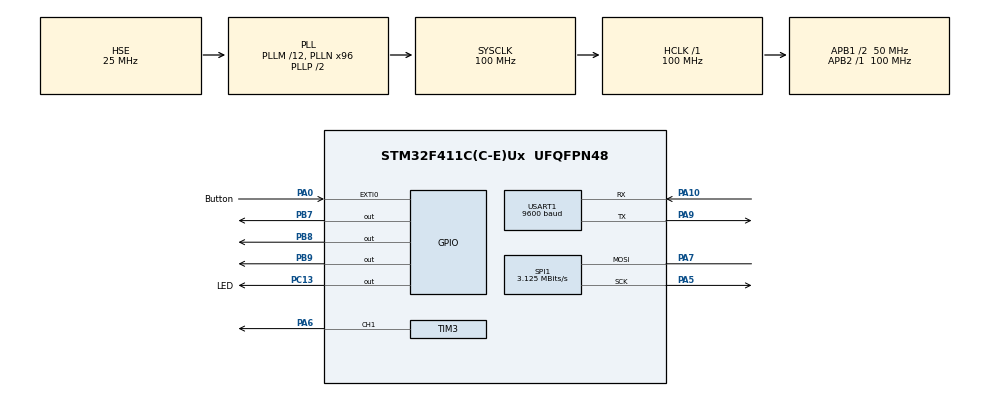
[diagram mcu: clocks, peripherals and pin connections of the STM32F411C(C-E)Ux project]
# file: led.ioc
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Dma.Request0=USART1_RX
Dma.Request1=USART1_TX
Dma.USART1_RX.0.Direction=DMA_PERIPH_TO_MEMORY
Dma.USART1_RX.0.FIFOMode=DMA_FIFOMODE_DISABLE
Dma.USART1_RX.0.Instance=DMA2_Stream2
Dma.USART1_RX.0.MemDataAlignment=DMA_MDATAALIGN_BYTE
Dma.USART1_RX.0.MemInc=DMA_MINC_ENABLE
Dma.USART1_RX.0.Mode=DMA_NORMAL
Dma.USART1_RX.0.PeriphDataAlignment=DMA_PDATAALIGN_BYTE
Dma.USART1_RX.0.PeriphInc=DMA_PINC_DISABLE
Dma.USART1_RX.0.Priority=DMA_PRIORITY_LOW
Dma.USART1_TX.1.Direction=DMA_MEMORY_TO_PERIPH
Dma.USART1_TX.1.FIFOMode=DMA_FIFOMODE_DISABLE
Dma.USART1_TX.1.Instance=DMA2_Stream7
Dma.USART1_TX.1.MemDataAlignment=DMA_MDATAALIGN_BYTE
Dma.USART1_TX.1.MemInc=DMA_MINC_ENABLE
Dma.USART1_TX.1.Mode=DMA_NORMAL
Dma.USART1_TX.1.PeriphDataAlignment=DMA_PDATAALIGN_BYTE
Dma.USART1_TX.1.PeriphInc=DMA_PINC_DISABLE
Dma.USART1_TX.1.Priority=DMA_PRIORITY_LOW
Mcu.Family=STM32F4
Mcu.Name=STM32F411C(C-E)Ux
Mcu.Package=UFQFPN48
NVIC.DMA2_Stream2_IRQn=true\:0\:0\:false\:false\:true\:false\:true\:true
NVIC.DMA2_Stream7_IRQn=true\:0\:0\:false\:false\:true\:false\:true\:true
NVIC.EXTI0_IRQn=true\:0\:0\:false\:false\:true\:true\:true\:true
NVIC.PriorityGroup=NVIC_PRIORITYGROUP_4
NVIC.USART1_IRQn=true\:0\:0\:true\:false\:true\:true\:true\:true
PA0-WKUP.GPIO_Label=Button
PA0-WKUP.GPIO_ModeDefaultEXTI=GPIO_MODE_IT_FALLING
PA0-WKUP.GPIO_PuPd=GPIO_PULLUP
PA0-WKUP.Signal=GPXTI0
PA10.Mode=Asynchronous
PA10.Signal=USART1_RX
PA13.Mode=Serial_Wire
PA13.Signal=SYS_JTMS-SWDIO
PA14.Mode=Serial_Wire
PA14.Signal=SYS_JTCK-SWCLK
PA5.Mode=Simplex_Bidirectional_Master
PA5.Signal=SPI1_SCK
PA6.Signal=S_TIM3_CH1
PA7.Mode=Simplex_Bidirectional_Master
PA7.Signal=SPI1_MOSI
PA9.Mode=Asynchronous
PA9.Signal=USART1_TX
PB7.Signal=GPIO_Output
PB8.Signal=GPIO_Output
PB9.Signal=GPIO_Output
PC13-ANTI_TAMP.GPIO_Label=LED
PC13-ANTI_TAMP.PinState=GPIO_PIN_SET
PC13-ANTI_TAMP.Signal=GPIO_Output
PH0\ -\ OSC_IN.Mode=HSE-External-Oscillator
PH0\ -\ OSC_IN.Signal=RCC_OSC_IN
PH1\ -\ OSC_OUT.Mode=HSE-External-Oscillator
PH1\ -\ OSC_OUT.Signal=RCC_OSC_OUT
ProjectManager.HeapSize=0x200
ProjectManager.StackSize=0x400
ProjectManager.TargetToolchain=STM32CubeIDE
RCC.48MHZClocksFreq_Value=50000000
RCC.AHBFreq_Value=100000000
RCC.APB1CLKDivider=RCC_HCLK_DIV2
RCC.APB1Freq_Value=50000000
RCC.APB1TimFreq_Value=100000000
RCC.APB2Freq_Value=100000000
RCC.APB2TimFreq_Value=100000000
RCC.CortexFreq_Value=100000000
RCC.HCLKFreq_Value=100000000
RCC.HSE_VALUE=25000000
RCC.HSI_VALUE=16000000
RCC.LSE_VALUE=32768
RCC.PLLM=12
RCC.PLLN=96
RCC.PLLSourceVirtual=RCC_PLLSOURCE_HSE
RCC.SYSCLKFreq_VALUE=100000000
RCC.SYSCLKSource=RCC_SYSCLKSOURCE_PLLCLK
RCC.VCOOutputFreq_Value=200000000
SH.S_TIM3_CH1.0=TIM3_CH1,PWM Generation1 CH1
SPI1.BaudRatePrescaler=SPI_BAUDRATEPRESCALER_32
SPI1.CalculateBaudRate=3.125 MBits/s
SPI1.Direction=SPI_DIRECTION_1LINE
SPI1.Mode=SPI_MODE_MASTER
SPI1.VirtualType=VM_MASTER
TIM3.AutoReloadPreload=TIM_AUTORELOAD_PRELOAD_ENABLE
TIM3.Channel-PWM\ Generation1\ CH1=TIM_CHANNEL_1
TIM3.Period=999
TIM3.Prescaler=99
TIM3.Pulse-PWM\ Generation1\ CH1=0
USART1.BaudRate=9600
USART1.VirtualMode=VM_ASYNC
VP_TIM3_VS_ClockSourceINT.Mode=Internal
board=custom

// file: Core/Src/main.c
/* USER CODE BEGIN Header */
/**
  ******************************************************************************
  * @file           : main.c
  * @brief          : Main program body
  ******************************************************************************
  * @attention
  *
  * Copyright (c) 2025 STMicroelectronics.
  * All rights reserved.
  *
  * This software is licensed under terms that can be found in the LICENSE file
  * in the root directory of this software component.
  * If no LICENSE file comes with this software, it is provided AS-IS.
  *
  ******************************************************************************
  */
/* USER CODE END Header */
#include "main.h"

/* USER CODE BEGIN Includes */
#include "led.h"
#include "string.h"
#include "ST7735.h"
#include "GFX_FUNCTIONS.h"
#include <stdio.h>
/* USER CODE END Includes */

SPI_HandleTypeDef hspi1;

TIM_HandleTypeDef htim3;

UART_HandleTypeDef huart1;
DMA_HandleTypeDef hdma_usart1_rx;
DMA_HandleTypeDef hdma_usart1_tx;

void SystemClock_Config(void);
static void MX_GPIO_Init(void);
static void MX_DMA_Init(void);
static void MX_TIM3_Init(void);
static void MX_USART1_UART_Init(void);
static void MX_SPI1_Init(void);

/* USER CODE BEGIN 0 */
uint8_t a;
uint8_t flag=0;
uint8_t rx_buffer[1];
char data[10];
int count=0;
/* USER CODE END 0 */

int main(void)
{

  /* MCU Configuration--------------------------------------------------------*/

  /* Reset of all peripherals, Initializes the Flash interface and the Systick. */
  HAL_Init();

  /* Configure the system clock */
  SystemClock_Config();

  /* Initialize all configured peripherals */
  MX_GPIO_Init();
  MX_DMA_Init();
  MX_TIM3_Init();
  MX_USART1_UART_Init();
  MX_SPI1_Init();
  /* USER CODE BEGIN 2 */
  HAL_TIM_PWM_Start(&htim3, TIM_CHANNEL_1);
  HAL_UART_Receive_DMA(&huart1, rx_buffer, sizeof(rx_buffer));
  ST7735_Init(1);
  fillScreen(BLACK);
  /* USER CODE END 2 */

  /* Infinite loop */
  while (1)
  {

    /* USER CODE BEGIN 3 */
	  ST7735_SetRotation(0);
	  ST7735_WriteString(0,0, "Hello", Font_11x18, WHITE, BLACK);
	  HAL_Delay(500);

	  ST7735_SetRotation(0);
	  ST7735_WriteString(50,20, "World", Font_11x18, GREEN, BLACK);
	  HAL_Delay(300);

	  snprintf(data, sizeof(data),"%d",count);
	  ST7735_SetRotation(0);
	  ST7735_WriteString(70,60, data, Font_16x26, MAGENTA, BLACK);
	  HAL_Delay(200);
	  count++;

  }
  /* USER CODE END 3 */
}

void SystemClock_Config(void)
{
  RCC_OscInitTypeDef RCC_OscInitStruct = {0};
  RCC_ClkInitTypeDef RCC_ClkInitStruct = {0};

  /** Configure the main internal regulator output voltage
  */
  __HAL_RCC_PWR_CLK_ENABLE();
  __HAL_PWR_VOLTAGESCALING_CONFIG(PWR_REGULATOR_VOLTAGE_SCALE1);

  /** Initializes the RCC Oscillators according to the specified parameters
  * in the RCC_OscInitTypeDef structure.
  */
  RCC_OscInitStruct.OscillatorType = RCC_OSCILLATORTYPE_HSE;
  RCC_OscInitStruct.HSEState = RCC_HSE_ON;
  RCC_OscInitStruct.PLL.PLLState = RCC_PLL_ON;
  RCC_OscInitStruct.PLL.PLLSource = RCC_PLLSOURCE_HSE;
  RCC_OscInitStruct.PLL.PLLM = 12;
  RCC_OscInitStruct.PLL.PLLN = 96;
  RCC_OscInitStruct.PLL.PLLP = RCC_PLLP_DIV2;
  RCC_OscInitStruct.PLL.PLLQ = 4;
  if (HAL_RCC_OscConfig(&RCC_OscInitStruct) != HAL_OK)
  {
    Error_Handler();
  }

  /** Initializes the CPU, AHB and APB buses clocks
  */
  RCC_ClkInitStruct.ClockType = RCC_CLOCKTYPE_HCLK|RCC_CLOCKTYPE_SYSCLK
                              |RCC_CLOCKTYPE_PCLK1|RCC_CLOCKTYPE_PCLK2;
  RCC_ClkInitStruct.SYSCLKSource = RCC_SYSCLKSOURCE_PLLCLK;
  RCC_ClkInitStruct.AHBCLKDivider = RCC_SYSCLK_DIV1;
  RCC_ClkInitStruct.APB1CLKDivider = RCC_HCLK_DIV2;
  RCC_ClkInitStruct.APB2CLKDivider = RCC_HCLK_DIV1;

  if (HAL_RCC_ClockConfig(&RCC_ClkInitStruct, FLASH_LATENCY_3) != HAL_OK)
  {
    Error_Handler();
  }
}

static void MX_SPI1_Init(void)
{

  /* SPI1 parameter configuration*/
  hspi1.Instance = SPI1;
  hspi1.Init.Mode = SPI_MODE_MASTER;
  hspi1.Init.Direction = SPI_DIRECTION_1LINE;
  hspi1.Init.DataSize = SPI_DATASIZE_8BIT;
  hspi1.Init.CLKPolarity = SPI_POLARITY_LOW;
  hspi1.Init.CLKPhase = SPI_PHASE_1EDGE;
  hspi1.Init.NSS = SPI_NSS_SOFT;
  hspi1.Init.BaudRatePrescaler = SPI_BAUDRATEPRESCALER_32;
  hspi1.Init.FirstBit = SPI_FIRSTBIT_MSB;
  hspi1.Init.TIMode = SPI_TIMODE_DISABLE;
  hspi1.Init.CRCCalculation = SPI_CRCCALCULATION_DISABLE;
  hspi1.Init.CRCPolynomial = 10;
  if (HAL_SPI_Init(&hspi1) != HAL_OK)
  {
    Error_Handler();
  }

}

static void MX_TIM3_Init(void)
{

  TIM_ClockConfigTypeDef sClockSourceConfig = {0};
  TIM_MasterConfigTypeDef sMasterConfig = {0};
  TIM_OC_InitTypeDef sConfigOC = {0};

  htim3.Instance = TIM3;
  htim3.Init.Prescaler = 99;
  htim3.Init.CounterMode = TIM_COUNTERMODE_UP;
  htim3.Init.Period = 999;
  htim3.Init.ClockDivision = TIM_CLOCKDIVISION_DIV1;
  htim3.Init.AutoReloadPreload = TIM_AUTORELOAD_PRELOAD_ENABLE;
  if (HAL_TIM_Base_Init(&htim3) != HAL_OK)
  {
    Error_Handler();
  }
  sClockSourceConfig.ClockSource = TIM_CLOCKSOURCE_INTERNAL;
  if (HAL_TIM_ConfigClockSource(&htim3, &sClockSourceConfig) != HAL_OK)
  {
    Error_Handler();
  }
  if (HAL_TIM_PWM_Init(&htim3) != HAL_OK)
  {
    Error_Handler();
  }
  sMasterConfig.MasterOutputTrigger = TIM_TRGO_RESET;
  sMasterConfig.MasterSlaveMode = TIM_MASTERSLAVEMODE_DISABLE;
  if (HAL_TIMEx_MasterConfigSynchronization(&htim3, &sMasterConfig) != HAL_OK)
  {
    Error_Handler();
  }
  sConfigOC.OCMode = TIM_OCMODE_PWM1;
  sConfigOC.Pulse = 0;
  sConfigOC.OCPolarity = TIM_OCPOLARITY_HIGH;
  sConfigOC.OCFastMode = TIM_OCFAST_DISABLE;
  if (HAL_TIM_PWM_ConfigChannel(&htim3, &sConfigOC, TIM_CHANNEL_1) != HAL_OK)
  {
    Error_Handler();
  }
  HAL_TIM_MspPostInit(&htim3);

}

static void MX_USART1_UART_Init(void)
{

  huart1.Instance = USART1;
  huart1.Init.BaudRate = 9600;
  huart1.Init.WordLength = UART_WORDLENGTH_8B;
  huart1.Init.StopBits = UART_STOPBITS_1;
  huart1.Init.Parity = UART_PARITY_NONE;
  huart1.Init.Mode = UART_MODE_TX_RX;
  huart1.Init.HwFlowCtl = UART_HWCONTROL_NONE;
  huart1.Init.OverSampling = UART_OVERSAMPLING_16;
  if (HAL_UART_Init(&huart1) != HAL_OK)
  {
    Error_Handler();
  }

}

static void MX_DMA_Init(void)
{

  /* DMA controller clock enable */
  __HAL_RCC_DMA2_CLK_ENABLE();

  /* DMA interrupt init */
  /* DMA2_Stream2_IRQn interrupt configuration */
  HAL_NVIC_SetPriority(DMA2_Stream2_IRQn, 0, 0);
  HAL_NVIC_EnableIRQ(DMA2_Stream2_IRQn);
  /* DMA2_Stream7_IRQn interrupt configuration */
  HAL_NVIC_SetPriority(DMA2_Stream7_IRQn, 0, 0);
  HAL_NVIC_EnableIRQ(DMA2_Stream7_IRQn);

}

static void MX_GPIO_Init(void)
{
  GPIO_InitTypeDef GPIO_InitStruct = {0};

  /* GPIO Ports Clock Enable */
  __HAL_RCC_GPIOC_CLK_ENABLE();
  __HAL_RCC_GPIOH_CLK_ENABLE();
  __HAL_RCC_GPIOA_CLK_ENABLE();
  __HAL_RCC_GPIOB_CLK_ENABLE();

  /*Configure GPIO pin Output Level */
  HAL_GPIO_WritePin(LED_GPIO_Port, LED_Pin, GPIO_PIN_SET);

  /*Configure GPIO pin Output Level */
  HAL_GPIO_WritePin(GPIOB, GPIO_PIN_7|GPIO_PIN_8|GPIO_PIN_9, GPIO_PIN_RESET);

  /*Configure GPIO pin : LED_Pin */
  GPIO_InitStruct.Pin = LED_Pin;
  GPIO_InitStruct.Mode = GPIO_MODE_OUTPUT_PP;
  GPIO_InitStruct.Pull = GPIO_NOPULL;
  GPIO_InitStruct.Speed = GPIO_SPEED_FREQ_LOW;
  HAL_GPIO_Init(LED_GPIO_Port, &GPIO_InitStruct);

  /*Configure GPIO pin : Button_Pin */
  GPIO_InitStruct.Pin = Button_Pin;
  GPIO_InitStruct.Mode = GPIO_MODE_IT_FALLING;
  GPIO_InitStruct.Pull = GPIO_PULLUP;
  HAL_GPIO_Init(Button_GPIO_Port, &GPIO_InitStruct);

  /*Configure GPIO pins : PB7 PB8 PB9 */
  GPIO_InitStruct.Pin = GPIO_PIN_7|GPIO_PIN_8|GPIO_PIN_9;
  GPIO_InitStruct.Mode = GPIO_MODE_OUTPUT_PP;
  GPIO_InitStruct.Pull = GPIO_NOPULL;
  GPIO_InitStruct.Speed = GPIO_SPEED_FREQ_LOW;
  HAL_GPIO_Init(GPIOB, &GPIO_InitStruct);

  /* EXTI interrupt init*/
  HAL_NVIC_SetPriority(EXTI0_IRQn, 0, 0);
  HAL_NVIC_EnableIRQ(EXTI0_IRQn);

}

/* USER CODE BEGIN 4 */
void HAL_GPIO_EXTI_Callback(uint16_t GPIO_Pin)
{
    if (GPIO_Pin == GPIO_PIN_0)
    {

     if (HAL_GPIO_ReadPin(Button_GPIO_Port, Button_Pin)==0 )
     {
    	 HAL_GPIO_TogglePin(LED_GPIO_Port, LED_Pin);
     }

    }
}

/*void HAL_UART_RxCpltCallback(UART_HandleTypeDef *huart)
{
	flag=1;
	uint32_t pre_time = HAL_GetTick();

	if ((huart->Instance == USART1) && (flag==1))
	{
		HAL_UART_Transmit_DMA(&huart1, rx_buffer, sizeof(rx_buffer));
	    LED_Toggle();
	  if (HAL_GetTick()-pre_time > 300)
		{
		  HAL_GPIO_WritePin(LED_GPIO_Port, LED_Pin, GPIO_PIN_SET);
		}
	  HAL_UART_Receive_DMA(&huart1, rx_buffer, sizeof(rx_buffer));
	}

}*/

/* USER CODE END 4 */

void Error_Handler(void)
{
  __disable_irq();
  while (1)
  {
  }
}
